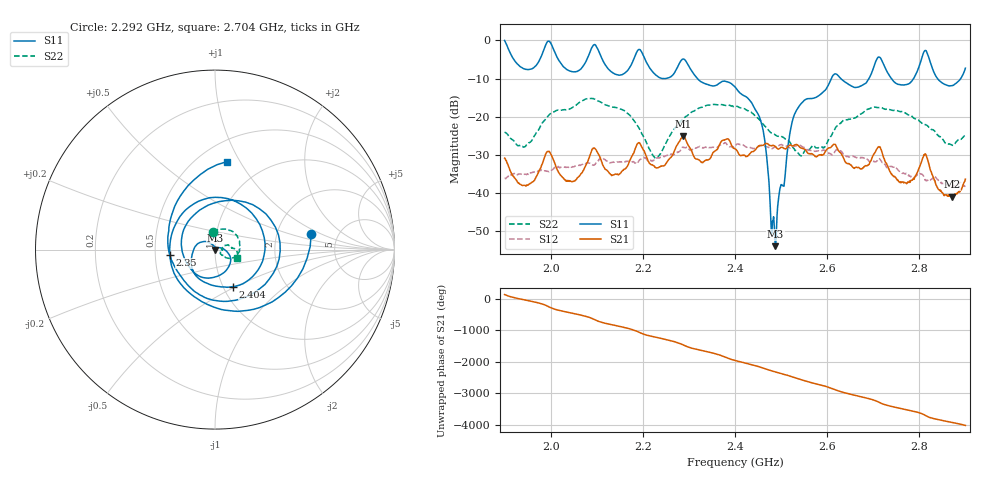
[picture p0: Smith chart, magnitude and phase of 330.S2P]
! C:\Users\rflab\Downloads\Lab5_KD_ZW\330.S2P
! Touchstone 1.1 file saved by VNA.EXE V1.65 (www.ke5fx.com/gpib/readme.htm)
! 11/12/2024 12:33:34 AM
!  Source: HEWLETT PACKARD,8753D,0,6.14
!  Min freq: 1.900000E+009 Hz
!  Max freq: 2.900000E+009 Hz
!  Points: 801
!  Params: S11 S21 S12 S22
# GHZ S RI R 50
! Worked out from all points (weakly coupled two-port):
!   801 points, 1.9 GHz to 2.9 GHz, reference 50 ohm
!   highest |S21| = -25.03 dB at 2.288 GHz (marker M1); lowest = -40.9 dB at 2.871 GHz (marker M2)
!   lowest |S11| = -53.9 dB at 2.487 GHz (marker M3), VSWR 1.00, Z = 50 - j0.197 ohm
!   |S11| at or under -10 dB: 2.318 GHz to 2.609 GHz (290.5 MHz wide, 11.8 % of centre); 2.63 GHz to 2.691 GHz (61.24 MHz wide, 2.3 % of centre); 2.839 GHz to 2.89 GHz (50.51 MHz wide, 1.76 % of centre) (the widest 3 of 5)
!   |S22| runs from -30.9 to -15.2 dB; largest |S21 - S12| = 0.02
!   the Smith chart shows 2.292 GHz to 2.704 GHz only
!   S11 on the Smith chart (normalised r, x): 2.292 GHz: 3.16, +0.80; 2.35 GHz: 0.60, -0.04; 2.404 GHz: 1.11, -0.48; 2.704 GHz: 0.68, +0.89
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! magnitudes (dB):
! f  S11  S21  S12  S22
! 1.9 GHz  0.0  -30.9  -36.2  -24.1
! 1.941 GHz  -7.4  -38.0  -35.2  -28.0
! 1.994 GHz  -0.3  -29.1  -34.3  -19.9
! 2.067 GHz  -7.2  -34.7  -32.6  -15.9
! 2.149 GHz  -9.1  -35.1  -31.9  -17.9
! 2.191 GHz  -2.4  -26.8  -31.6  -22.9
! 2.234 GHz  -9.6  -33.3  -30.8  -30.4
! 2.288 GHz  -4.9  -25.0  -28.0  -20.5
! 2.292 GHz  -5.3  -25.9  -28.2  -20.0
! 2.35 GHz  -11.9  -30.1  -28.0  -16.9
! 2.4 GHz  -12.2  -28.4  -27.7  -17.3
! 2.404 GHz  -12.8  -28.9  -27.2  -17.3
! 2.456 GHz  -21.3  -27.5  -27.6  -21.2
! 2.487 GHz  -53.9  -27.9  -28.0  -24.8
! 2.526 GHz  -20.4  -27.6  -27.8  -28.1
! 2.567 GHz  -15.2  -29.7  -29.0  -27.6
! 2.704 GHz  -6.1  -29.4  -31.9  -17.5
! 2.734 GHz  -9.0  -33.7  -33.4  -18.0
! 2.777 GHz  -11.3  -37.2  -35.3  -19.5
! 2.814 GHz  -2.7  -29.8  -36.5  -22.1
! 2.871 GHz  -11.9  -40.9  -38.3  -27.5
! 2.9 GHz  -7.3  -36.4  -38.2  -24.8
